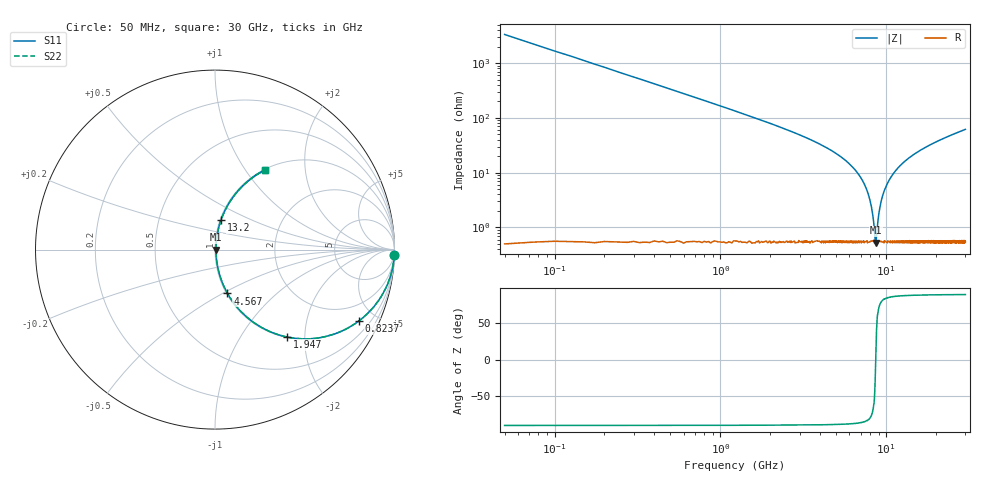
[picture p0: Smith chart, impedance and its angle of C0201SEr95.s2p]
!	AVX Thin Film Operation 	Date: April 2014
!	Description: Accu-P® Series, Thin Film  SMD RF Capacitor
!	Part Number: 02015JR95PBSTR
# MHZ S MA R 50
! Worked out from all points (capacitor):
!   1201 points, 50 MHz to 30 GHz, reference 50 ohm
!   read as one part in series: C = 948 fF near 199.8 MHz
!   lowest |Z| = 525 mohm at 8.636 GHz (marker M1)
!   series resonance near 8.636 GHz, so ESL is about 360 pH
!   S11 on the Smith chart (normalised r, x): 50 MHz: -0, -67; 823.7 MHz: 1.01, -4.03; 1.947 GHz: 1.01, -1.63; 4.567 GHz: 1.01, -0.53; 13.2 GHz: 1.01, +0.34; 30 GHz: 1.01, +1.24
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50  1 -1.7  0.03 88.3  0.03 88.3  1 -1.7
349.5  0.979 -11.8  0.204 78.1  0.204 78.1  0.979 -11.8
823.708  0.895 -26.4  0.444 63.5  0.444 63.5  0.895 -26.4
1322.875  0.776 -38.9  0.627 50.9  0.627 50.9  0.776 -38.9
1946.833  0.631 -50.5  0.772 39.1  0.772 39.1  0.631 -50.5
3045  0.432 -63.7  0.897 25.6  0.897 25.6  0.432 -63.7
4567.458  0.254 -74.1  0.962 14.7  0.962 14.7  0.254 -74.1
5041.667  0.213 -76.3  0.972 12.3  0.972 12.3  0.213 -76.3
6514.208  0.11 -80.9  0.989 6.3  0.989 6.3  0.11 -80.9
7512.542  0.054 -81.1  0.993 3.1  0.993 3.1  0.054 -81.1
8086.583  0.026 -76.4  0.994 1.5  0.994 1.5  0.026 -76.4
8635.667  0.005451 -0.2  0.995 0.0  0.995 0.0  0.005451 -0.2
8735.5  0.007017 38.8  0.995 -0.3  0.995 -0.3  0.007017 38.8
9010.042  0.017 70.6  0.994 -0.9  0.994 -0.9  0.017 70.6
9284.583  0.028 77.4  0.994 -1.6  0.994 -1.6  0.028 77.4
10058.29  0.059 81.3  0.993 -3.4  0.993 -3.4  0.059 81.3
11381.08  0.107 81.0  0.989 -6.2  0.989 -6.2  0.107 81.0
13203.04  0.167 78.6  0.981 -9.6  0.981 -9.6  0.167 78.6
15025  0.219 75.9  0.97 -12.7  0.97 -12.7  0.219 75.9
20016.67  0.342 69.1  0.935 -20.0  0.935 -20.0  0.342 69.1
25033.29  0.442 63.1  0.892 -26.2  0.892 -26.2  0.442 63.1
30000  0.524 57.9  0.847 -31.6  0.847 -31.6  0.524 57.9
